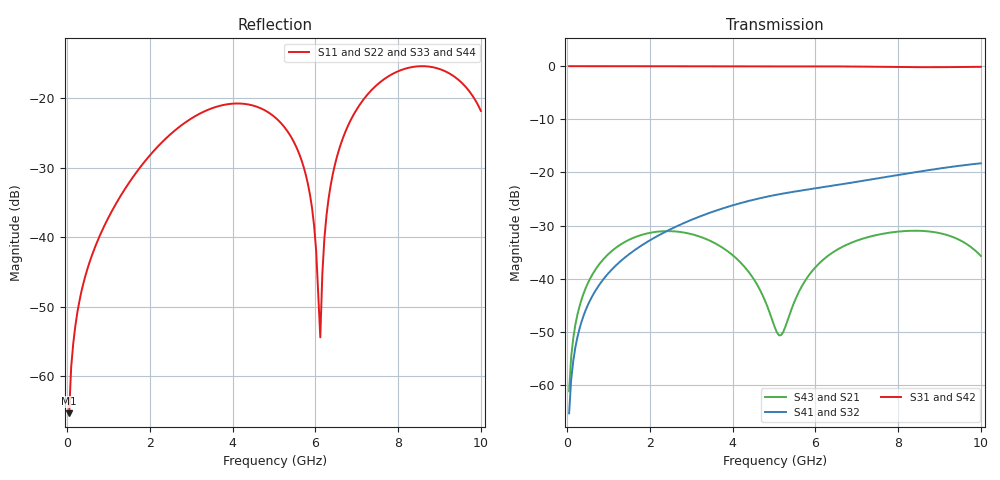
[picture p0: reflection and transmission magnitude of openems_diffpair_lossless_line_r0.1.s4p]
! openEMS, openems_diffpair_lossless_line_r0.1, 396800 cells, ports P1 N1 P2 N2
# GHz S RI R 50
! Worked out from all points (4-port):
!   201 points, 50 MHz to 10 GHz, reference 50 ohm
!   strongest paths, dB at 50 MHz, 2.538 GHz, 5.025 GHz, 7.513 GHz, 10 GHz:
!     S31: 0.0, 0.0, -0.1, -0.1, -0.1
!     S42: 0.0, 0.0, -0.1, -0.1, -0.1
!     S41: -65.4, -30.6, -24.3, -21.1, -18.3
!     S32: -65.4, -30.6, -24.3, -21.1, -18.3
!     S43: -61.2, -31.1, -49.3, -31.7, -35.7
!     S21: -61.2, -31.1, -49.3, -31.7, -35.7
!   lowest |S11| = -65.3 dB at 50 MHz (marker M1), VSWR 1.00, Z = 50 - j0.047 ohm
!   |S11| at or under -10 dB: start of sweep to end of sweep
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0.05  0.000275 -0.000469  -5.52e-05 0.00087  0.9991 -0.0368  2.38e-05 -0.000539
      -5.57e-05 0.00087  0.000274 -0.000468  2.37e-05 -0.000539  0.9991 -0.0368
      0.9991 -0.0368  2.38e-05 -0.000539  0.000274 -0.000468  -5.52e-05 0.00087
      2.41e-05 -0.000539  0.9991 -0.0368  -5.52e-05 0.00087  0.000274 -0.000468
1.1445  -0.0122 -0.0113  0.014 0.0129  0.6662 -0.7451  -0.00938 -0.00885
        0.014 0.0129  -0.0122 -0.0113  -0.00938 -0.00885  0.6662 -0.7451
        0.6662 -0.7451  -0.00938 -0.00885  -0.0122 -0.0113  0.014 0.0129
        -0.00938 -0.00885  0.6662 -0.7451  0.014 0.0129  -0.0122 -0.0113
4.17925  -0.00763 0.0908  0.00504 -0.0134  -0.9912 -0.0687  -0.0042 0.0511
         0.00504 -0.0134  -0.00763 0.0908  -0.0042 0.0511  -0.9912 -0.0687
         -0.9912 -0.0687  -0.0042 0.0511  -0.00763 0.0908  0.00504 -0.0134
         -0.0042 0.0511  -0.9912 -0.0687  0.00504 -0.0134  -0.00763 0.0908
5.67175  0.0291 0.0199  0.00766 0.00356  -0.5108 0.8541  0.059 0.0331
         0.00766 0.00356  0.0291 0.0199  0.059 0.0331  -0.5108 0.8541
         -0.5108 0.8541  0.059 0.0331  0.0291 0.0199  0.00766 0.00356
         0.059 0.0331  -0.5108 0.8541  0.00766 0.00356  0.0291 0.0199
6.1195  -0.00117 0.00151  0.0136 0.0042  -0.2033 0.9745  0.0707 0.0132
        0.0136 0.0042  -0.00117 0.00151  0.0707 0.0132  -0.2033 0.9745
        -0.2033 0.9745  0.0707 0.0132  -0.00117 0.00151  0.0136 0.0042
        0.0707 0.0132  -0.2033 0.9745  0.0136 0.0042  -0.00117 0.00151
7.1145  -0.0801 0.0475  0.0231 -0.0045  0.5072 0.8508  0.0717 -0.0416
        0.0231 -0.0045  -0.0801 0.0475  0.0717 -0.0416  0.5072 0.8508
        0.5072 0.8508  0.0717 -0.0416  -0.0801 0.0475  0.0231 -0.0045
        0.0717 -0.0416  0.5072 0.8508  0.0231 -0.0045  -0.0801 0.0475
10  0.0689 0.0421  -0.0096 -0.0132  0.4423 -0.881  -0.1094 -0.0534
    -0.0096 -0.0132  0.0689 0.0421  -0.1094 -0.0534  0.4423 -0.881
    0.4423 -0.881  -0.1094 -0.0534  0.0689 0.0421  -0.0096 -0.0132
    -0.1094 -0.0534  0.4423 -0.881  -0.0096 -0.0132  0.0689 0.0421
